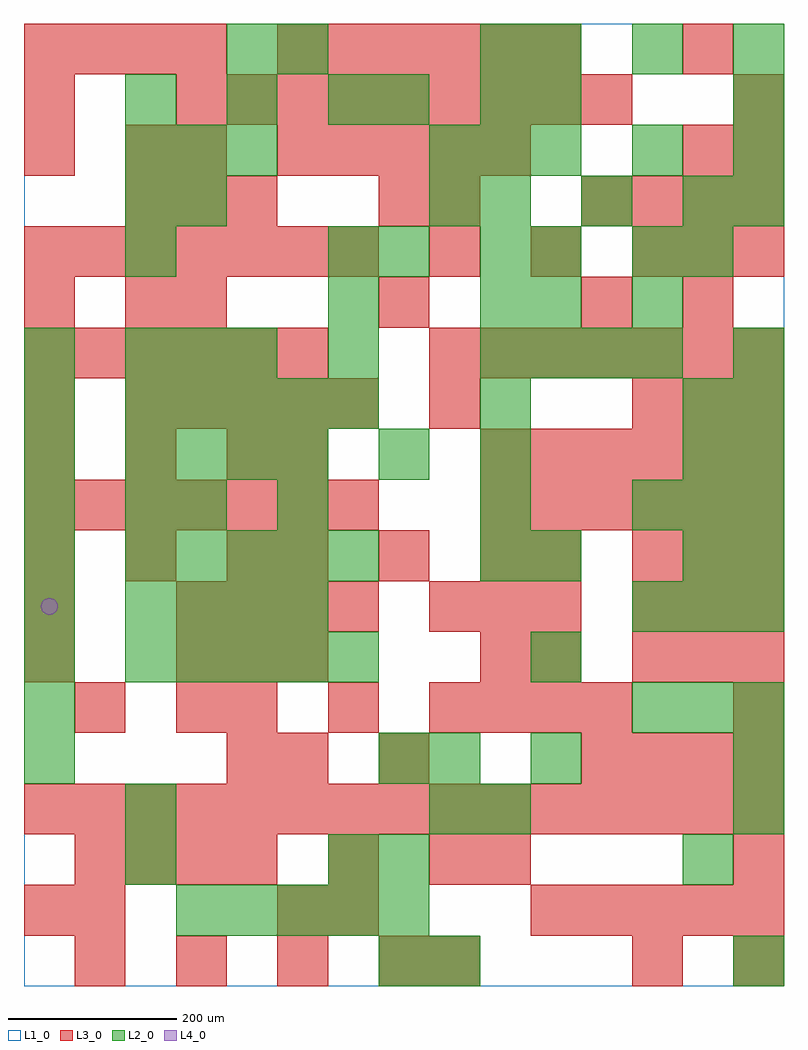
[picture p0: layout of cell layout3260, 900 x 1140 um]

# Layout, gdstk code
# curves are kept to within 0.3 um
import gdstk
lib = gdstk.Library(unit=1e-6, precision=1e-09)
def R(c, l, rs):  # rectangles x0, y0, x1, y1
    for r in rs: c.add(gdstk.rectangle(r[:2], r[2:], *l))
def A(c, l, x, y, w, h, nx, ny, dx, dy):  # array of equal rectangles
    R(c, l, [(x+i*dx, y+j*dy, x+i*dx+w, y+j*dy+h) for i in range(nx) for j in range(ny)])
def P(c, l, *ps):  # polygons
    for p in ps: c.add(gdstk.Polygon(p, *l))
L1_0 = (1, 0)
L2_0 = (2, 0)
L3_0 = (3, 0)
L4_0 = (4, 0)

layout3260 = lib.new_cell('layout3260')
R(layout3260, L1_0, [(0,0,900,1140)])
A(layout3260, L2_0, 420, 0, 60, 60, 1, 3, 0, 120)
A(layout3260, L2_0, 180, 60, 60, 60, 5, 1, 60, 0)
A(layout3260, L2_0, 0, 240, 60, 60, 1, 9, 0, 60)
A(layout3260, L2_0, 600, 240, 60, 60, 1, 3, 0, 120)
A(layout3260, L2_0, 720, 300, 60, 60, 3, 3, 60, 120)
A(layout3260, L2_0, 120, 360, 60, 60, 5, 2, 60, 120)
A(layout3260, L2_0, 120, 420, 60, 60, 4, 2, 60, 180)
A(layout3260, L2_0, 540, 480, 60, 60, 1, 4, 0, 60)
A(layout3260, L2_0, 840, 600, 60, 60, 1, 3, 0, 60)
A(layout3260, L2_0, 120, 660, 60, 60, 5, 1, 60, 0)
A(layout3260, L2_0, 120, 720, 60, 60, 3, 2, 60, 240)
A(layout3260, L2_0, 360, 720, 60, 60, 1, 3, 0, 60)
A(layout3260, L2_0, 540, 720, 60, 60, 4, 1, 60, 0)
A(layout3260, L2_0, 540, 900, 60, 60, 3, 1, 120, 0)
A(layout3260, L2_0, 840, 900, 60, 60, 1, 3, 0, 60)
A(layout3260, L2_0, 480, 960, 60, 60, 3, 1, 60, 0)
A(layout3260, L2_0, 120, 1020, 60, 60, 3, 1, 120, 0)
A(layout3260, L2_0, 600, 1080, 60, 60, 3, 1, 120, 0)
R(layout3260, L2_0, [(480,0,540,60), (840,0,900,60), (120,120,180,180), (360,120,420,180), (780,120,840,180), (120,180,180,240), (480,180,540,240), (540,180,600,240), (840,180,900,240), (480,240,540,300), (840,240,900,300), (780,480,840,540), (840,480,900,540), (120,540,180,600), (180,540,240,600), (300,540,360,600), (420,600,480,660), (780,600,840,660), (780,660,840,720), (540,780,600,840), (600,780,660,840), (720,780,780,840), (120,840,180,900), (420,840,480,900), (540,840,600,900), (600,840,660,900), (720,840,780,900), (780,840,840,900), (120,900,180,960), (180,900,240,960), (480,900,540,960), (720,960,780,1020), (420,1020,480,1080), (540,1020,600,1080), (600,1020,660,1080), (240,1080,300,1140), (300,1080,360,1140), (540,1080,600,1140)])
A(layout3260, L3_0, 60, 0, 60, 60, 4, 1, 120, 0)
A(layout3260, L3_0, 600, 60, 60, 60, 5, 1, 60, 0)
A(layout3260, L3_0, 60, 120, 60, 60, 4, 1, 60, 0)
A(layout3260, L3_0, 0, 180, 60, 60, 15, 1, 60, 0)
A(layout3260, L3_0, 660, 240, 60, 60, 4, 2, 60, 660)
A(layout3260, L3_0, 240, 300, 60, 60, 3, 1, 120, 0)
A(layout3260, L3_0, 540, 300, 60, 60, 3, 1, 60, 0)
A(layout3260, L3_0, 180, 360, 60, 60, 3, 1, 60, 0)
A(layout3260, L3_0, 720, 360, 60, 60, 3, 3, 60, 60)
A(layout3260, L3_0, 180, 420, 60, 60, 4, 1, 60, 0)
A(layout3260, L3_0, 480, 420, 60, 60, 3, 1, 60, 0)
A(layout3260, L3_0, 0, 480, 60, 60, 3, 2, 120, 120)
A(layout3260, L3_0, 300, 480, 60, 60, 3, 1, 120, 0)
A(layout3260, L3_0, 0, 540, 60, 60, 7, 2, 60, 300)
A(layout3260, L3_0, 540, 540, 60, 60, 6, 2, 60, 60)
A(layout3260, L3_0, 120, 660, 60, 60, 5, 1, 60, 0)
A(layout3260, L3_0, 720, 660, 60, 60, 3, 1, 60, 0)
A(layout3260, L3_0, 0, 720, 60, 60, 6, 1, 60, 0)
A(layout3260, L3_0, 480, 720, 60, 60, 7, 1, 60, 0)
A(layout3260, L3_0, 180, 780, 60, 60, 3, 1, 240, 0)
A(layout3260, L3_0, 480, 840, 60, 60, 3, 1, 120, 0)
A(layout3260, L3_0, 780, 840, 60, 60, 1, 3, 0, 120)
A(layout3260, L3_0, 120, 900, 60, 60, 3, 1, 60, 0)
A(layout3260, L3_0, 300, 960, 60, 60, 5, 1, 60, 0)
A(layout3260, L3_0, 180, 1020, 60, 60, 9, 1, 60, 0)
A(layout3260, L3_0, 0, 1080, 60, 60, 4, 1, 60, 0)
A(layout3260, L3_0, 300, 1080, 60, 60, 6, 1, 60, 0)
R(layout3260, L3_0, [(480,0,540,60), (720,0,780,60), (840,0,900,60), (0,60,60,120), (60,60,120,120), (300,60,360,120), (360,60,420,120), (360,120,420,180), (480,120,540,180), (540,120,600,180), (840,120,900,180), (240,240,300,300), (300,240,360,300), (420,240,480,300), (60,300,120,360), (180,300,240,360), (840,300,900,360), (0,360,60,420), (540,360,600,420), (600,360,660,420), (0,420,60,480), (600,480,660,540), (300,600,360,660), (0,660,60,720), (480,660,540,720), (0,780,60,840), (120,780,180,840), (780,780,840,840), (840,840,900,900), (420,900,480,960), (480,900,540,960), (0,960,60,1020), (120,960,180,1020), (180,960,240,1020), (840,960,900,1020), (0,1020,60,1080), (840,1020,900,1080)])
P(layout3260, L4_0, [(40,450),(39.239,453.827),(37.071,457.071),(33.827,459.239),(30,460),(26.173,459.239),(22.929,457.071),(20.761,453.827),(20,450),(20.761,446.173),(22.929,442.929),(26.173,440.761),(30,440),(33.827,440.761),(37.071,442.929),(39.239,446.173)])

lib.write_gds('layout3260.gds')
